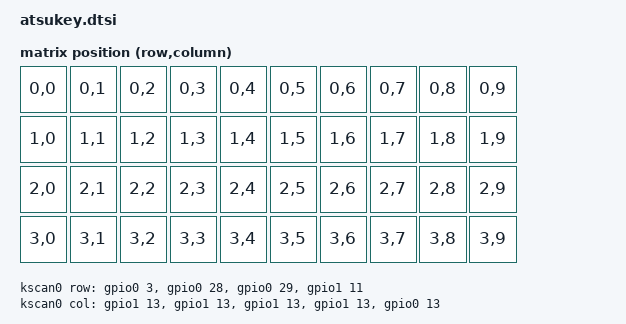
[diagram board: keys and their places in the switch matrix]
#include <dt-bindings/zmk/matrix_transform.h>

/ {
    /* --- キースキャン（4行×5列）。XIAOインタコネクト外のnRFピンは &gpioX Y で指定（公式の記法）:contentReference[oaicite:5]{index=5} */
    kscan0: kscan0 {
    compatible = "zmk,kscan-gpio-matrix";
    diode-direction = "col2row";
    wakeup-source;

    /* 行＝入力：プルダウン & Active High（= Hになったら押下と解釈） */
    row-gpios =
        <&gpio0 3  (GPIO_ACTIVE_HIGH | GPIO_PULL_DOWN)>,
        <&gpio0 28 (GPIO_ACTIVE_HIGH | GPIO_PULL_DOWN)>,
        <&gpio0 29 (GPIO_ACTIVE_HIGH | GPIO_PULL_DOWN)>,
        <&gpio1 11 (GPIO_ACTIVE_HIGH | GPIO_PULL_DOWN)>;

    /* 列＝出力：Active High（スキャン時に列をH駆動して読む想定） */
    /* col-gpios を“逆順”にする例 */
    col-gpios =
        <&gpio1 13 GPIO_ACTIVE_HIGH>,  /* ← まず P1.12 を col=0 に */
        <&gpio1 13 GPIO_ACTIVE_HIGH>,
        <&gpio1 13 GPIO_ACTIVE_HIGH>,
        <&gpio1 13 GPIO_ACTIVE_HIGH>,
        <&gpio0 13 GPIO_ACTIVE_HIGH>;  /* NFC1 */

};



    /* --- 行列→キー位置のマッピング（splitは“合体後”の列数を指定、公式の手順）:contentReference[oaicite:6]{index=6} */
    default_transform: keymap_transform0 {
        compatible = "zmk,matrix-transform";
        rows = <4>;
        columns = <10>; /* 左5列 + 右5列 */
        map = <
            /* Row0: L(C0..C4)            |  R(C5..C9) */
            RC(0,0) RC(0,1) RC(0,2) RC(0,3) RC(0,4)  RC(0,5) RC(0,6) RC(0,7) RC(0,8) RC(0,9)
            /* Row1 */
            RC(1,0) RC(1,1) RC(1,2) RC(1,3) RC(1,4)  RC(1,5) RC(1,6) RC(1,7) RC(1,8) RC(1,9)
            /* Row2 */
            RC(2,0) RC(2,1) RC(2,2) RC(2,3) RC(2,4)  RC(2,5) RC(2,6) RC(2,7) RC(2,8) RC(2,9)
            /* Row3 */
            RC(3,0) RC(3,1) RC(3,2) RC(3,3) RC(3,4)  RC(3,5) RC(3,6) RC(3,7) RC(3,8) RC(3,9)
        >;
    };

    /* --- physical-layout（Basic版、Studio不要。公式のBasic例に準拠）:contentReference[oaicite:7]{index=7} */
    physical_layout0: physical_layout_0 {
        compatible = "zmk,physical-layout";
        display-name = "Default Layout";
        kscan = <&kscan0>;
        transform = <&default_transform>;
    };

    /* --- chosen: 既定のレイアウト指定（公式の指示）:contentReference[oaicite:8]{index=8} */
    chosen {
        zmk,physical-layout = &physical_layout0;
        zmk,kscan = &kscan0;
    };
};

